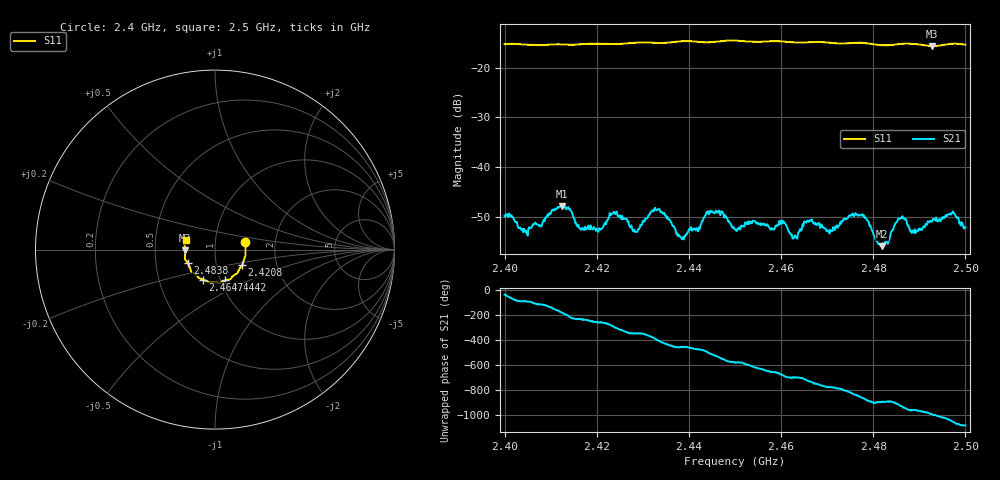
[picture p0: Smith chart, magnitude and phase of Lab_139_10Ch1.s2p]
# Hz S RI R 50
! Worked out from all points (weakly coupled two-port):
!   601 points, 2.4 GHz to 2.5 GHz, reference 50 ohm
!   highest |S21| = -47.85 dB at 2.4125 GHz (marker M1); lowest = -55.9 dB at 2.4818 GHz (marker M2)
!   lowest |S11| = -15.6 dB at 2.4928 GHz (marker M3), VSWR 1.40, Z = 35.8 - j0.366 ohm
!   |S11| at or under -10 dB: start of sweep to end of sweep
!   S12 and S22 are empty: the file has one direction only
!   S11 on the Smith chart (normalised r, x): 2.4 GHz: 1.40, +0.12; 2.4208 GHz: 1.33, -0.24; 2.4442 GHz: 1.05, -0.37; 2.4647 GHz: 0.83, -0.29; 2.4838 GHz: 0.73, -0.11; 2.5 GHz: 0.72, +0.08
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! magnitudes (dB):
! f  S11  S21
! 2.4 GHz  -15.2  -49.8
! 2.4045 GHz  -15.3  -53.1
! 2.4125 GHz  -15.3  -47.9
! 2.4167 GHz  -15.2  -52.6
! 2.4208 GHz  -15.1  -52.6
! 2.4238 GHz  -15.2  -49.0
! 2.4285 GHz  -14.9  -53.0
! 2.4333 GHz  -15.0  -48.5
! 2.4385 GHz  -14.6  -54.5
! 2.4442 GHz  -14.9  -48.9
! 2.45 GHz  -14.5  -52.5
! 2.4647 GHz  -14.9  -51.5
! 2.4667 GHz  -14.8  -50.5
! 2.4707 GHz  -15.0  -52.6
! 2.4775 GHz  -15.0  -49.6
! 2.4818 GHz  -15.4  -55.9
! 2.4833 GHz  -15.5  -54.9
! 2.4838 GHz  -15.4  -53.1
! 2.4858 GHz  -15.2  -50.4
! 2.4887 GHz  -15.2  -53.1
! 2.4928 GHz  -15.6  -50.9
! 2.5 GHz  -15.3  -52.1
